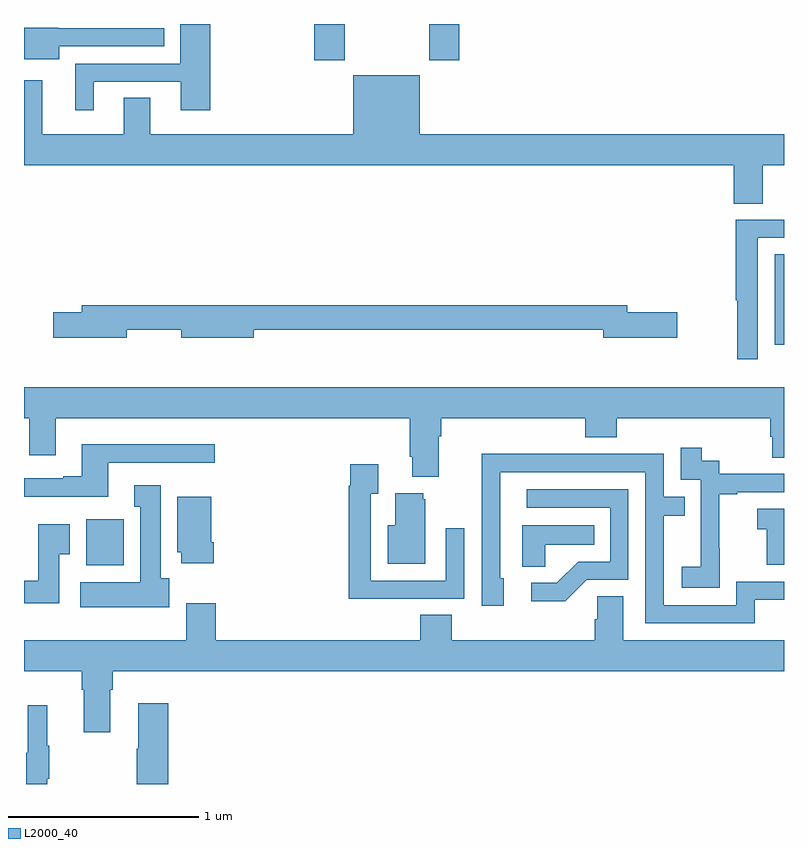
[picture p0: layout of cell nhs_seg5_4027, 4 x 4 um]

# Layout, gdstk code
import gdstk
lib = gdstk.Library(unit=1e-6, precision=1e-09)
def R(c, l, rs):  # rectangles x0, y0, x1, y1
    for r in rs: c.add(gdstk.rectangle(r[:2], r[2:], *l))
def P(c, l, *ps):  # polygons
    for p in ps: c.add(gdstk.Polygon(p, *l))
L2000_40 = (2000, 40)

nhs_seg5_4027 = lib.new_cell('nhs_seg5_4027')
R(nhs_seg5_4027, L2000_40, [(347.327,891.95,347.524,892.192), (350.951,893.11,351,893.587), (348.527,894.609,348.687,894.799), (349.132,894.609,349.292,894.799)])
P(nhs_seg5_4027, L2000_40, [(347.368,894.495),(347.825,894.495),(347.825,894.345),(347.981,894.345),(347.981,894.799),(347.822,894.799),(347.822,894.591),(347.27,894.591),(347.27,894.345),(347.368,894.345)],
  [(347.185,894.681),(347.737,894.681),(347.737,894.777),(347.181,894.777),(347.181,894.778),(347,894.778),(347,894.614),(347.185,894.614)],
  [(350.735,893.854),(350.887,893.854),(350.887,894.056),(351,894.056),(351,894.22),(349.084,894.22),(349.084,894.529),(348.734,894.529),(348.734,894.22),(347.665,894.22),(347.665,894.41),(347.525,894.41),(347.525,894.22),(347.095,894.22),(347.095,894.502),(347,894.502),(347,894.056),(350.735,894.056)],
  [(350.862,893.673),(351,893.673),(351,893.769),(350.746,893.769),(350.746,893.346),(350.754,893.346),(350.754,893.034),(350.862,893.034)],
  [(347.542,893.19),(347.828,893.19),(347.828,893.147),(348.208,893.147),(348.208,893.19),(350.048,893.19),(350.048,893.147),(350.437,893.147),(350.437,893.282),(350.176,893.282),(350.176,893.318),(347.303,893.318),(347.303,893.282),(347.154,893.282),(347.154,893.147),(347.542,893.147)],
  [(349.183,892.628),(349.196,892.628),(349.196,892.724),(349.955,892.724),(349.955,892.625),(350.12,892.625),(350.12,892.724),(350.927,892.724),(350.927,892.626),(350.939,892.626),(350.939,892.516),(351,892.516),(351,892.888),(347,892.888),(347,892.724),(347.027,892.724),(347.027,892.53),(347.167,892.53),(347.167,892.724),(349.031,892.724),(349.031,892.522),(349.043,892.522),(349.043,892.415),(349.183,892.415)],
  [(347.443,892.491),(348.004,892.491),(348.004,892.588),(347.303,892.588),(347.303,892.42),(347.207,892.42),(347.207,892.407),(347,892.407),(347,892.31),(347.443,892.31)],
  [(350.661,892.039),(350.66,892.039),(350.66,892.323),(350.755,892.323),(350.755,892.335),(351,892.335),(351,892.431),(350.658,892.431),(350.658,892.5),(350.566,892.5),(350.566,892.57),(350.457,892.57),(350.457,892.401),(350.562,892.401),(350.562,892.172),(350.561,892.172),(350.561,891.943),(350.463,891.943),(350.463,891.833),(350.661,891.833)],
  [(350.845,891.768),(351,891.768),(351,891.864),(350.748,891.864),(350.748,891.741),(350.367,891.741),(350.367,892.21),(350.477,892.21),(350.477,892.311),(350.367,892.311),(350.367,892.536),(349.871,892.536),(349.871,892.538),(349.408,892.538),(349.408,892.231),(349.41,892.231),(349.41,891.738),(349.525,891.738),(349.525,891.882),(349.506,891.882),(349.506,892.44),(350.271,892.44),(350.271,891.645),(350.845,891.645)],
  [(349.001,891.774),(349.317,891.774),(349.317,892.144),(349.221,892.144),(349.221,891.87),(348.825,891.87),(348.825,892.327),(348.865,892.327),(348.865,892.483),(348.717,892.483),(348.717,892.37),(348.709,892.37),(348.709,891.773),(349.001,891.773)],
  [(347.764,891.882),(347.719,891.882),(347.719,892.372),(347.579,892.372),(347.579,892.259),(347.612,892.259),(347.612,891.862),(347.295,891.862),(347.295,891.728),(347.764,891.728)],
  [(349.962,891.873),(350.181,891.873),(350.181,892.35),(349.647,892.35),(349.647,892.254),(350.085,892.254),(350.085,891.969),(349.916,891.969),(349.805,891.858),(349.671,891.858),(349.671,891.761),(349.849,891.761)],
  [(349.111,892.299),(349.1,892.299),(349.1,892.33),(348.953,892.33),(348.953,892.162),(348.914,892.162),(348.914,891.959),(349.111,891.959)],
  [(347.999,892.072),(347.986,892.072),(347.986,892.312),(347.807,892.312),(347.807,892.02),(347.828,892.02),(347.828,891.96),(347.999,891.96)],
  [(351,892.249),(350.859,892.249),(350.859,892.139),(350.908,892.139),(350.908,891.954),(351,891.954)],
  [(347.185,892.009),(347.242,892.009),(347.242,892.165),(347.075,892.165),(347.075,891.868),(347,891.868),(347,891.75),(347.185,891.75)],
  [(349.743,892.058),(350,892.058),(350,892.162),(349.622,892.162),(349.622,891.943),(349.743,891.943)],
  [(347.455,891.296),(347.468,891.296),(347.468,891.392),(351,891.392),(351,891.556),(350.155,891.556),(350.155,891.788),(350.016,891.788),(350.016,891.665),(350.003,891.665),(350.003,891.556),(349.25,891.556),(349.25,891.689),(349.085,891.689),(349.085,891.556),(348.008,891.556),(348.008,891.751),(347.855,891.751),(347.855,891.556),(347,891.556),(347,891.392),(347.303,891.392),(347.303,891.296),(347.315,891.296),(347.315,891.072),(347.455,891.072)],
  [(347.759,891.223),(347.6,891.223),(347.6,890.984),(347.593,890.984),(347.593,890.799),(347.759,890.799)],
  [(347.123,890.827),(347.134,890.827),(347.134,891.001),(347.123,891.001),(347.123,891.214),(347.02,891.214),(347.02,890.964),(347.013,890.964),(347.013,890.799),(347.123,890.799)])

lib.write_gds('nhs_seg5_4027.gds')
